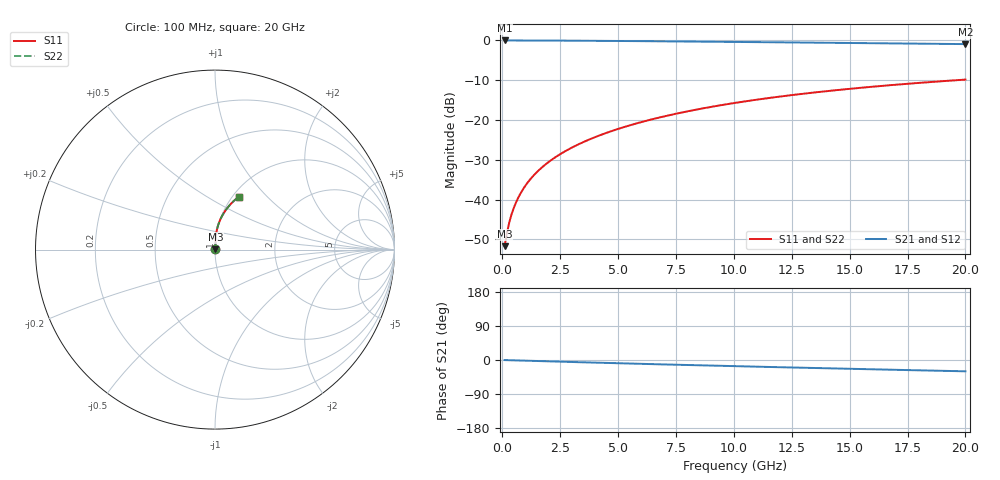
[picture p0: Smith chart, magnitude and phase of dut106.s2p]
! Touchstone file exported from HFSS 2024.1.0
!  File:  C:/UserFiles/LocalFiles/RDL_TSV_Batchsim/temp_RDL_top_106_1778683451.aedt
!  Generated:  10:46:34 PM May 13, 2026
!  Design:  RDL_top
!  Project:  temp_RDL_top_106_1778683451
!  Setup:  Setup1
!  Solution:  Sweep
! Variables:
!  dtsv = 10.80580581um
!  hbump = 3um
!  htsv = 60.17um
!  ldown = 100um
!  lrdl = 367.37um
!  p = 40
!  p1 = 59.74um
!  rhole = 1um
!  t = 450um
!  tdown = 3.915915916um
!  trdl = 3.06um
!  wdown = 15.38538539um
!  wrdl = 23.36um
# GHz S MA R 50.000000
! Terminal data exported
! Port[1] = Box2_T1
! Port[2] = Box2_T2
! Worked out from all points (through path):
!   200 points, 100 MHz to 20 GHz, reference 50 ohm
!   highest |S21| = -0.02 dB at 100 MHz (marker M1); lowest = -0.9 dB at 20 GHz (marker M2)
!   group delay of S21, straight-line fit = 4.11 ps
!   lowest |S11| = -51.7 dB at 100 MHz (marker M3), VSWR 1.01, Z = 50.2 + j0.159 ohm
!   |S11| at or under -10 dB: start of sweep to 19.61 GHz
!   |S22| runs from -51.7 to -9.8 dB; largest |S21 - S12| = 2.7e-15
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0.1  0.002607 37.5  0.9979 -0.2  0.9979 -0.2  0.002607 37.5
! Gamma 0 0 0 0
! Port Impedance 50 0 50 0
0.2  0.003801 55.7  0.9978 -0.4  0.9978 -0.4  0.003801 55.7
0.3  0.005154 64.4  0.9977 -0.5  0.9977 -0.5  0.005154 64.4
0.4  0.006541 69.3  0.9976 -0.7  0.9976 -0.7  0.006541 69.3
0.5  0.007938 72.6  0.9974 -0.9  0.9974 -0.9  0.007938 72.6
0.6  0.009341 75.0  0.9973 -1.1  0.9973 -1.1  0.009341 75.0
0.8  0.01217 78.3  0.997 -1.4  0.997 -1.4  0.01217 78.3
1.1  0.01647 81.2  0.9966 -2.0  0.9966 -2.0  0.01647 81.2
1.5  0.02229 83.5  0.9959 -2.7  0.9959 -2.7  0.02229 83.5
1.8  0.02673 84.5  0.9952 -3.2  0.9952 -3.2  0.02673 84.5
2.1  0.03121 85.3  0.9945 -3.7  0.9945 -3.7  0.03121 85.3
2.7  0.04035 86.2  0.9927 -4.7  0.9927 -4.7  0.04035 86.2
3.5  0.05287 86.7  0.9898 -6.1  0.9898 -6.1  0.05287 86.7
4.2  0.06413 86.7  0.9869 -7.3  0.9869 -7.3  0.06413 86.7
5  0.07731 86.4  0.9832 -8.6  0.9832 -8.6  0.07731 86.4
5.9  0.09246 85.8  0.9788 -10.0  0.9788 -10.0  0.09246 85.8
6.8  0.1079 84.9  0.9742 -11.4  0.9742 -11.4  0.1079 84.9
8.4  0.1355 82.9  0.9656 -13.8  0.9656 -13.8  0.1355 82.9
10.1  0.1649 80.5  0.9562 -16.3  0.9562 -16.3  0.1649 80.5
13.4  0.2205 75.5  0.9375 -21.0  0.9375 -21.0  0.2205 75.5
16.7  0.273 70.5  0.9181 -25.5  0.9181 -25.5  0.273 70.5
20  0.3218 65.8  0.898 -29.9  0.898 -29.9  0.3218 65.8
